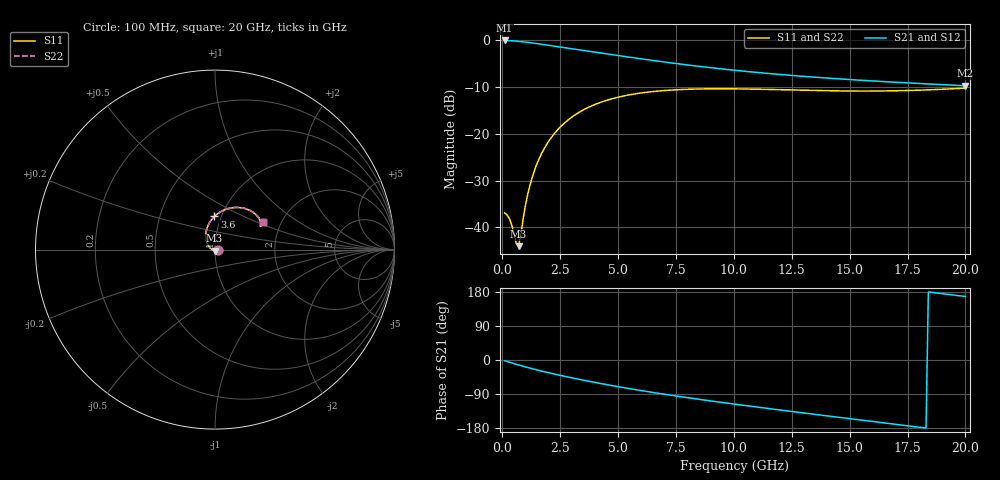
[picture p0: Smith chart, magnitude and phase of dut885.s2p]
! Touchstone file exported from HFSS 2024.1.0
!  File:  C:/UserFiles/LocalFiles/RDL_TSV_Batchsim/temp_RDL_TSV_885_1779930871.aedt
!  Generated:  09:28:48 AM May 28, 2026
!  Design:  RDL_TSV
!  Project:  temp_RDL_TSV_885_1779930871
!  Setup:  Setup1
!  Solution:  Sweep
! Variables:
!  dtsv = 13.54um
!  hbump = 3um
!  htsv = 81.18um
!  ldown = 525.95um
!  lrdl = 236.49um
!  p = 40
!  p1 = 56.61um
!  rhole = 10um
!  subl = 2523.81um
!  t = 450um
!  tdown = 4.91um
!  trdl = 2.2um
!  viad = 10um
!  wdown = 14.71um
!  wrdl = 24.57um
!  xbump = 18um
# GHz S MA R 50.000000
! Terminal data exported
! Port[1] = TM1_1_T1
! Port[2] = TM1_4_T1
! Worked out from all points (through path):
!   200 points, 100 MHz to 20 GHz, reference 50 ohm
!   highest |S21| = -0.13 dB at 100 MHz (marker M1); lowest = -9.8 dB at 20 GHz (marker M2)
!   group delay of S21, straight-line fit = 24.8 ps
!   lowest |S11| = -44.0 dB at 700 MHz (marker M3), VSWR 1.01, Z = 49.8 - j0.584 ohm
!   |S11| at or under -10 dB: start of sweep to end of sweep
!   |S22| runs from -44.0 to -10.3 dB; largest |S21 - S12| = 1.8e-14
!   S11 on the Smith chart (normalised r, x): 100 MHz: 1.03, -0.00; 3.6 GHz: 0.93, +0.35; 20 GHz: 1.61, +0.54
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0.1  0.01431 -5.7  0.9849 -1.9  0.9849 -1.9  0.01431 -5.7
! Gamma 0 0 0 0
! Port Impedance 50 0 50 0
0.3  0.01249 -20.4  0.9806 -5.7  0.9806 -5.7  0.01248 -20.4
0.4  0.01077 -31.0  0.9773 -7.6  0.9773 -7.6  0.01076 -31.0
0.6  0.006773 -72.1  0.969 -11.2  0.969 -11.2  0.006749 -72.2
0.7  0.006312 -111.6  0.9639 -13.0  0.9639 -13.0  0.006304 -112.0
0.8  0.008413 -147.6  0.9584 -14.8  0.9584 -14.8  0.008434 -147.9
1  0.01718 177.8  0.9462 -18.2  0.9462 -18.2  0.01725 177.6
1.1  0.02264 168.6  0.9396 -19.9  0.9396 -19.9  0.02272 168.5
1.3  0.03471 155.7  0.9257 -23.1  0.9257 -23.1  0.03483 155.6
1.6  0.05462 141.9  0.904 -27.8  0.904 -27.8  0.05481 141.9
2  0.08262 128.0  0.8745 -33.6  0.8745 -33.6  0.08289 127.9
2.4  0.1105 116.6  0.8455 -39.2  0.8455 -39.2  0.1109 116.6
2.9  0.1436 104.7  0.8106 -45.8  0.8106 -45.8  0.1441 104.7
3.5  0.179 92.8  0.7707 -53.3  0.7707 -53.3  0.1796 92.8
3.6  0.1844 91.0  0.7642 -54.5  0.7642 -54.5  0.185 91.0
5  0.2445 70.4  0.68 -70.4  0.68 -70.4  0.2453 70.5
6.8  0.2855 52.4  0.5891 -88.5  0.5891 -88.5  0.2865 52.5
8.4  0.299 41.7  0.525 -102.9  0.525 -102.9  0.3001 41.7
10.1  0.3 34.0  0.472 -117.0  0.472 -117.0  0.3012 34.1
13.4  0.2884 27.5  0.4012 -142.7  0.4012 -142.7  0.2897 27.5
16.7  0.2855 27.9  0.3561 -167.5  0.3561 -167.5  0.2868 27.9
20  0.3052 29.8  0.3238 167.6  0.3238 167.6  0.3063 29.8
